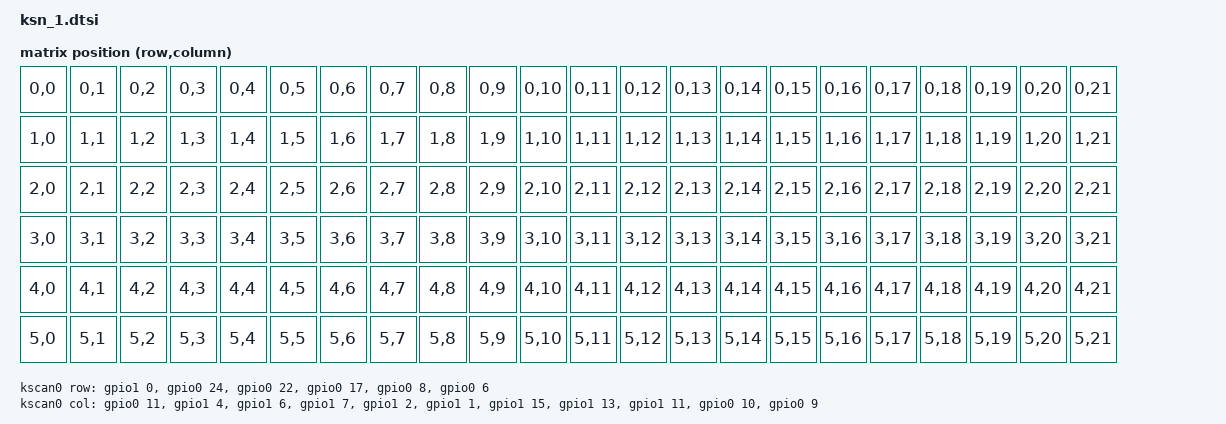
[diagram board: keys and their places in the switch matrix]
/*
 * ksn_1.dtsi — 좌우 공통 하드웨어 정의
 *
 * ┌─────────────────────────────────────────┐
 * │  nice!nano v2.0 공식 핀맵 기준          │
 * │  (Image3 핀맵 직접 확인)                │
 * ├──────┬──────┬────────────────────────── │
 * │ 회로 │ 보드 │ GPIO                      │
 * ├──────┼──────┼────────────────────────── │
 * │ row1 │ D6   │ P1.00                     │
 * │ row2 │ D5   │ P0.24                     │
 * │ row3 │ D4   │ P0.22                     │
 * │ row4 │ D2   │ P0.17                     │
 * │ row5 │ D0   │ P0.08                     │
 * │ row6 │ D1   │ P0.06                     │
 * ├──────┼──────┼────────────────────────── │
 * │ col1 │ D7   │ P0.11                     │
 * │ col2 │ D8   │ P1.04                     │
 * │ col3 │ D9   │ P1.06                     │
 * │ col4 │ P1.07│ P1.07                     │
 * │ col5 │ P1.02│ P1.02                     │
 * │ col6 │ P1.01│ P1.01                     │
 * │ col7 │ D18  │ P1.15                     │
 * │ col8 │ D15  │ P1.13                     │
 * │ col9 │ D14  │ P1.11                     │
 * │ col10│ D16  │ P0.10                     │
 * │ col11│ D10  │ P0.09                     │
 * └──────┴──────┴────────────────────────── │
 *
 * 다이오드 방향: col2row
 */

/ {
    chosen {
        zmk,kscan            = &kscan0;
        zmk,matrix_transform = &default_transform;
        zmk,battery          = &vbatt;
    };

    /* ───────────────────────────────────────
       매트릭스 변환 (6행 × 22열 = 좌11 + 우11)
    ─────────────────────────────────────── */
    default_transform: matrix_transform {
        compatible = "zmk,matrix-transform";
        columns = <22>;
        rows    = <6>;
        map = <
RC(0,0)  RC(0,1)  RC(0,2)  RC(0,3)  RC(0,4)  RC(0,5)  RC(0,6)  RC(0,7)  RC(0,8)  RC(0,9)  RC(0,10)    RC(0,11) RC(0,12) RC(0,13) RC(0,14) RC(0,15) RC(0,16) RC(0,17) RC(0,18) RC(0,19) RC(0,20) RC(0,21)
RC(1,0)  RC(1,1)  RC(1,2)  RC(1,3)  RC(1,4)  RC(1,5)  RC(1,6)  RC(1,7)  RC(1,8)  RC(1,9)  RC(1,10)    RC(1,11) RC(1,12) RC(1,13) RC(1,14) RC(1,15) RC(1,16) RC(1,17) RC(1,18) RC(1,19) RC(1,20) RC(1,21)
RC(2,0)  RC(2,1)  RC(2,2)  RC(2,3)  RC(2,4)  RC(2,5)  RC(2,6)  RC(2,7)  RC(2,8)  RC(2,9)  RC(2,10)    RC(2,11) RC(2,12) RC(2,13) RC(2,14) RC(2,15) RC(2,16) RC(2,17) RC(2,18) RC(2,19) RC(2,20) RC(2,21)
RC(3,0)  RC(3,1)  RC(3,2)  RC(3,3)  RC(3,4)  RC(3,5)  RC(3,6)  RC(3,7)  RC(3,8)  RC(3,9)  RC(3,10)    RC(3,11) RC(3,12) RC(3,13) RC(3,14) RC(3,15) RC(3,16) RC(3,17) RC(3,18) RC(3,19) RC(3,20) RC(3,21)
RC(4,0)  RC(4,1)  RC(4,2)  RC(4,3)  RC(4,4)  RC(4,5)  RC(4,6)  RC(4,7)  RC(4,8)  RC(4,9)  RC(4,10)    RC(4,11) RC(4,12) RC(4,13) RC(4,14) RC(4,15) RC(4,16) RC(4,17) RC(4,18) RC(4,19) RC(4,20) RC(4,21)
RC(5,0)  RC(5,1)  RC(5,2)  RC(5,3)  RC(5,4)  RC(5,5)  RC(5,6)  RC(5,7)  RC(5,8)  RC(5,9)  RC(5,10)    RC(5,11) RC(5,12) RC(5,13) RC(5,14) RC(5,15) RC(5,16) RC(5,17) RC(5,18) RC(5,19) RC(5,20) RC(5,21)
        >;
    };

    /* ───────────────────────────────────────
       키 스캔 (col2row 다이오드 방향)
       col2row: row=출력(Active High)
                col=입력(Active High + Pull Down)
    ─────────────────────────────────────── */
    kscan0: kscan {
        compatible      = "zmk,kscan-gpio-matrix";
        label           = "KSCAN";
        diode-direction = "col2row";

        row-gpios
            = <&gpio1 0  GPIO_ACTIVE_HIGH>   /* D6  P1.00 row1 */
            , <&gpio0 24 GPIO_ACTIVE_HIGH>   /* D5  P0.24 row2 */
            , <&gpio0 22 GPIO_ACTIVE_HIGH>   /* D4  P0.22 row3 */
            , <&gpio0 17 GPIO_ACTIVE_HIGH>   /* D2  P0.17 row4 */
            , <&gpio0 8  GPIO_ACTIVE_HIGH>   /* D0  P0.08 row5 */
            , <&gpio0 6  GPIO_ACTIVE_HIGH>   /* D1  P0.06 row6 */
            ;

        col-gpios
            = <&gpio0 11 (GPIO_ACTIVE_HIGH | GPIO_PULL_DOWN)>  /* D7   P0.11 col1  */
            , <&gpio1 4  (GPIO_ACTIVE_HIGH | GPIO_PULL_DOWN)>  /* D8   P1.04 col2  */
            , <&gpio1 6  (GPIO_ACTIVE_HIGH | GPIO_PULL_DOWN)>  /* D9   P1.06 col3  */
            , <&gpio1 7  (GPIO_ACTIVE_HIGH | GPIO_PULL_DOWN)>  /* P1.07      col4  */
            , <&gpio1 2  (GPIO_ACTIVE_HIGH | GPIO_PULL_DOWN)>  /* P1.02      col5  */
            , <&gpio1 1  (GPIO_ACTIVE_HIGH | GPIO_PULL_DOWN)>  /* P1.01      col6  */
            , <&gpio1 15 (GPIO_ACTIVE_HIGH | GPIO_PULL_DOWN)>  /* D18  P1.15 col7  */
            , <&gpio1 13 (GPIO_ACTIVE_HIGH | GPIO_PULL_DOWN)>  /* D15  P1.13 col8  */
            , <&gpio1 11 (GPIO_ACTIVE_HIGH | GPIO_PULL_DOWN)>  /* D14  P1.11 col9  */
            , <&gpio0 10 (GPIO_ACTIVE_HIGH | GPIO_PULL_DOWN)>  /* D16  P0.10 col10 */
            , <&gpio0 9  (GPIO_ACTIVE_HIGH | GPIO_PULL_DOWN)>  /* D10  P0.09 col11 */
            ;
    };

    /* ───────────────────────────────────────
       배터리 전압 분배기
       스위치출력 → 820kΩ → P0.31(AIN7) → 2MΩ → GND
    ─────────────────────────────────────── */
    vbatt: vbatt {
        compatible  = "zmk,battery-voltage-divider";
        label       = "VBATT";
        io-channels = <&adc 7>;      /* P0.31 = AIN7 */
        output-ohms = <2000000>;     /* 2MΩ          */
        full-ohms   = <2820000>;     /* 820kΩ + 2MΩ  */
    };
};

&adc { status = "okay"; };
